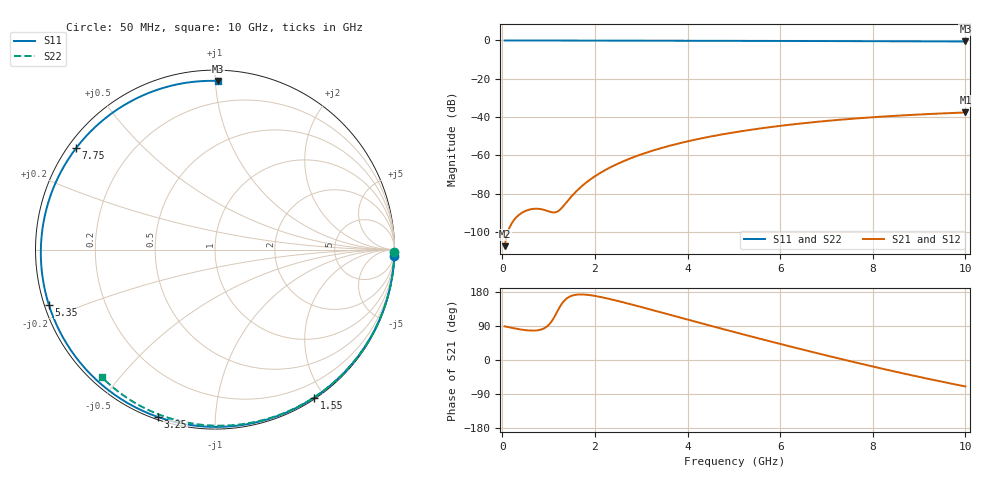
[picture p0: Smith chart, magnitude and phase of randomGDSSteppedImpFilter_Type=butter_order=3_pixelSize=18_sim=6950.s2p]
! freq	dB(S11)	phase(S11)	dB(S12)	phase(S12)
!  dB(S21)	phase(S21)	dB(S22)	phase(S22)
!S-par simulation data
#  GHz  S  DB  R 50
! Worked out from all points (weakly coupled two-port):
!   200 points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, 50 MHz to 10 GHz, reference 50 ohm
!   highest |S21| = -37.63 dB at 10 GHz (marker M1); lowest = -107.5 dB at 50 MHz (marker M2)
!   lowest |S11| = -0.5 dB at 10 GHz (marker M3), VSWR 32.24, Z = 3.16 + j50.9 ohm
!   |S11| at or under -10 dB: nowhere
!   |S22| runs from -0.4 to 0.0 dB; largest |S21 - S12| = 0
!   S11 on the Smith chart (normalised r, x): 50 MHz: 0, -60; 1.55 GHz: 0.02, -1.87; 3.25 GHz: 0.01, -0.72; 5.35 GHz: 0.01, -0.16; 7.75 GHz: 0.02, +0.33; 10 GHz: 0.06, +1.02
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0.05  -0.00 -1.9  -107.50 88.8  -107.50 88.8  -0.00 -0.8
0.4  -0.02 -15.0  -90.43 80.5  -90.43 80.5  -0.01 -6.1
0.75  -0.04 -27.9  -87.94 78.2  -87.94 78.2  -0.01 -11.3
1.15  -0.05 -42.3  -89.81 119.3  -89.81 119.3  -0.02 -17.3
1.55  -0.07 -56.3  -80.03 171.3  -80.03 171.3  -0.03 -23.3
1.75  -0.08 -63.0  -75.47 172.9  -75.47 172.9  -0.03 -26.2
2.05  -0.09 -72.8  -70.20 168.0  -70.20 168.0  -0.04 -30.6
2.4  -0.10 -83.9  -65.51 158.7  -65.51 158.7  -0.05 -35.7
2.8  -0.11 -95.9  -61.31 146.3  -61.31 146.3  -0.05 -41.4
3.25  -0.13 -108.7  -57.55 131.6  -57.55 131.6  -0.06 -47.8
3.4  -0.13 -112.9  -56.47 126.6  -56.47 126.6  -0.07 -49.9
4.25  -0.16 -135.1  -51.41 98.5  -51.41 98.5  -0.09 -61.6
5.05  -0.20 -154.5  -47.86 72.5  -47.86 72.5  -0.11 -72.2
5.35  -0.22 -161.5  -46.74 62.9  -46.74 62.9  -0.12 -76.1
6  -0.25 -176.4  -44.63 42.4  -44.63 42.4  -0.15 -84.4
6.7  -0.30 167.8  -42.76 21.0  -42.76 21.0  -0.18 -93.1
7.2  -0.33 156.4  -41.62 6.0  -41.62 6.0  -0.21 -99.1
7.75  -0.37 143.8  -40.56 -10.0  -40.56 -10.0  -0.24 -105.7
8.35  -0.41 129.8  -39.57 -27.0  -39.57 -27.0  -0.29 -112.7
9.2  -0.48 109.1  -38.46 -49.8  -38.46 -49.8  -0.36 -122.4
9.6  -0.51 99.1  -38.02 -59.9  -38.02 -59.9  -0.40 -126.9
10  -0.54 88.9  -37.63 -69.7  -37.63 -69.7  -0.45 -131.5
